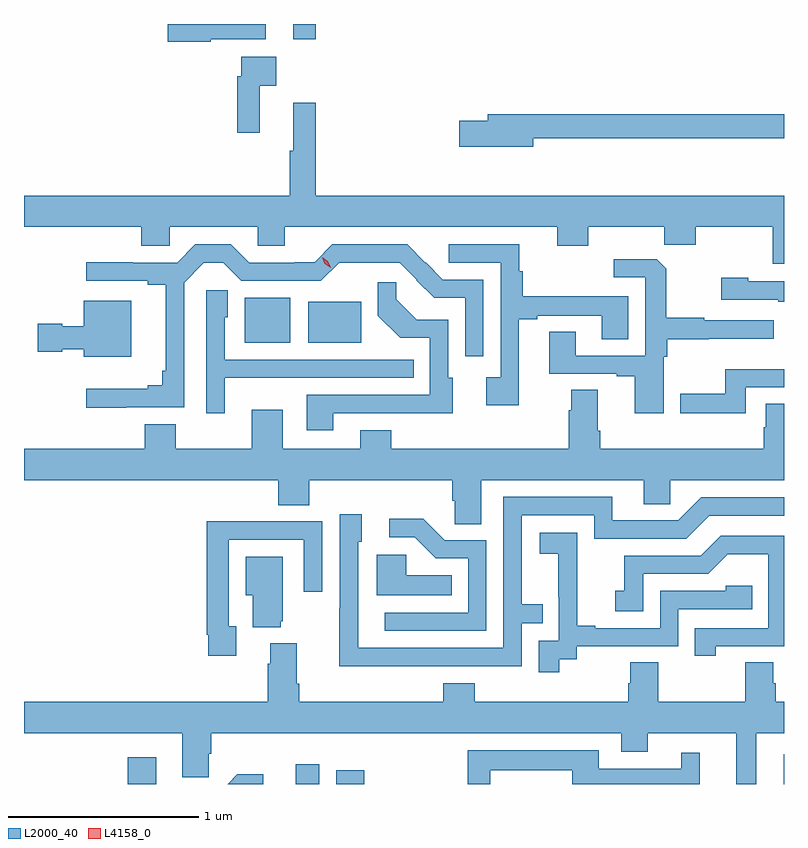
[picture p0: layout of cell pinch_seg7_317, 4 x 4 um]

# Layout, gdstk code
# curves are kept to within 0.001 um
import gdstk
lib = gdstk.Library(unit=1e-6, precision=1e-09)
def R(c, l, rs):  # rectangles x0, y0, x1, y1
    for r in rs: c.add(gdstk.rectangle(r[:2], r[2:], *l))
def P(c, l, *ps):  # polygons
    for p in ps: c.add(gdstk.Polygon(p, *l))
L2000_40 = (2000, 40)
L4158_0 = (4158, 0)

pinch_seg7_317 = lib.new_cell('pinch_seg7_317')
R(pinch_seg7_317, L2000_40, [(398.909,1060.288,399.061,1060.429), (399.794,1060.288,399.919,1060.393), (400.007,1060.288,400.156,1060.36), (402.362,1060.288,402.364,1060.444), (399.527,1062.611,399.766,1062.847), (399.86,1062.611,400.138,1062.826), (399.782,1064.208,399.899,1064.288)])
P(pinch_seg7_317, L2000_40, [(399.348,1064.207),(399.637,1064.207),(399.637,1064.288),(399.12,1064.288),(399.12,1064.195),(399.348,1064.195)],
  [(399.605,1063.964),(399.691,1063.964),(399.691,1064.116),(399.507,1064.116),(399.507,1064.012),(399.487,1064.012),(399.487,1063.716),(399.605,1063.716)],
  [(402.364,1063.384),(399.899,1063.384),(399.899,1063.873),(399.782,1063.873),(399.782,1063.62),(399.763,1063.62),(399.763,1063.384),(398.364,1063.384),(398.364,1063.22),(398.981,1063.22),(398.981,1063.122),(399.132,1063.122),(399.132,1063.22),(399.594,1063.22),(399.594,1063.122),(399.736,1063.122),(399.736,1063.22),(401.171,1063.22),(401.171,1063.121),(401.335,1063.121),(401.335,1063.22),(401.735,1063.22),(401.735,1063.127),(401.899,1063.127),(401.899,1063.22),(402.305,1063.22),(402.305,1063.026),(402.364,1063.026)],
  [(401.044,1063.686),(402.364,1063.686),(402.364,1063.814),(400.805,1063.814),(400.805,1063.778),(400.656,1063.778),(400.656,1063.643),(401.044,1063.643)],
  [(400.969,1062.733),(401.065,1062.733),(401.065,1062.753),(401.405,1062.753),(401.405,1062.628),(401.545,1062.628),(401.545,1062.854),(400.988,1062.854),(400.988,1062.986),(400.97,1062.986),(400.97,1063.128),(400.599,1063.128),(400.599,1063.032),(400.872,1063.032),(400.872,1062.43),(400.797,1062.43),(400.797,1062.282),(400.969,1062.282)],
  [(398.903,1062.27),(399.207,1062.27),(399.207,1062.927),(399.311,1063.031),(399.412,1063.031),(399.507,1062.936),(399.927,1062.936),(400.022,1063.031),(400.341,1063.032),(400.431,1062.942),(400.429,1062.94),(400.523,1062.846),(400.686,1062.846),(400.686,1062.54),(400.782,1062.54),(400.782,1062.942),(400.569,1062.942),(400.381,1063.128),(399.987,1063.128),(399.893,1063.034),(399.788,1063.034),(399.788,1063.032),(399.549,1063.032),(399.453,1063.128),(399.266,1063.128),(399.17,1063.032),(398.937,1063.032),(398.937,1063.034),(398.691,1063.034),(398.691,1062.936),(399.014,1062.936),(399.014,1062.916),(399.11,1062.916),(399.11,1062.463),(399.091,1062.463),(399.091,1062.386),(399.014,1062.386),(399.014,1062.367),(398.691,1062.367),(398.691,1062.269)],
  [(401.73,1062.536),(401.75,1062.536),(401.75,1062.628),(401.969,1062.628),(401.969,1062.632),(402.31,1062.632),(402.31,1062.729),(401.945,1062.729),(401.945,1062.742),(401.745,1062.742),(401.745,1062.999),(401.693,1063.051),(401.469,1063.051),(401.469,1062.954),(401.634,1062.954),(401.634,1062.543),(401.269,1062.543),(401.269,1062.668),(401.129,1062.668),(401.129,1062.447),(401.483,1062.447),(401.483,1062.435),(401.579,1062.435),(401.579,1062.24),(401.73,1062.24)],
  [(402.364,1062.933),(402.177,1062.933),(402.177,1062.952),(402.033,1062.952),(402.033,1062.837),(402.335,1062.837),(402.335,1062.825),(402.364,1062.825)],
  [(399.991,1062.24),(400.621,1062.239),(400.621,1062.426),(400.596,1062.426),(400.596,1062.732),(400.43,1062.732),(400.322,1062.84),(400.322,1062.928),(400.227,1062.928),(400.227,1062.752),(400.343,1062.636),(400.5,1062.636),(400.5,1062.336),(399.851,1062.336),(399.851,1062.15),(399.991,1062.15)],
  [(399.421,1062.425),(399.755,1062.425),(399.755,1062.426),(400.415,1062.426),(400.415,1062.522),(399.42,1062.522),(399.42,1062.744),(399.436,1062.744),(399.436,1062.887),(399.324,1062.887),(399.324,1062.24),(399.421,1062.24)],
  [(398.929,1062.832),(398.678,1062.832),(398.678,1062.697),(398.565,1062.697),(398.565,1062.71),(398.436,1062.71),(398.436,1062.563),(398.565,1062.563),(398.565,1062.575),(398.678,1062.575),(398.678,1062.536),(398.929,1062.536)],
  [(402.162,1062.375),(402.364,1062.375),(402.364,1062.472),(402.054,1062.472),(402.054,1062.341),(401.817,1062.341),(401.817,1062.239),(402.162,1062.239)],
  [(400.297,1062.151),(400.133,1062.151),(400.133,1062.052),(399.727,1062.052),(399.727,1062.259),(399.563,1062.259),(399.563,1062.052),(399.163,1062.052),(399.163,1062.181),(398.999,1062.181),(398.999,1062.052),(398.364,1062.052),(398.364,1061.888),(399.701,1061.888),(399.701,1061.755),(399.866,1061.755),(399.866,1061.888),(400.619,1061.888),(400.619,1061.779),(400.632,1061.779),(400.632,1061.656),(400.771,1061.656),(400.771,1061.888),(401.627,1061.888),(401.627,1061.761),(401.766,1061.761),(401.766,1061.888),(402.364,1061.888),(402.364,1062.29),(402.269,1062.29),(402.269,1062.165),(402.257,1062.165),(402.257,1062.052),(401.396,1062.052),(401.396,1062.148),(401.383,1062.148),(401.383,1062.362),(401.243,1062.362),(401.243,1062.254),(401.231,1062.254),(401.231,1062.052),(400.297,1062.052)],
  [(400.487,1060.908),(400.983,1060.908),(400.983,1061.133),(401.093,1061.133),(401.093,1061.234),(400.983,1061.234),(400.983,1061.703),(401.364,1061.703),(401.364,1061.58),(401.85,1061.58),(401.97,1061.7),(402.364,1061.7),(402.364,1061.796),(401.928,1061.796),(401.808,1061.676),(401.461,1061.676),(401.461,1061.799),(400.887,1061.799),(400.887,1061.004),(400.123,1061.004),(400.122,1061.562),(400.141,1061.562),(400.141,1061.707),(400.026,1061.707),(400.026,1061.213),(400.024,1061.213),(400.024,1060.907)],
  [(400.797,1061.571),(400.578,1061.571),(400.465,1061.684),(400.287,1061.684),(400.287,1061.586),(400.421,1061.586),(400.532,1061.475),(400.701,1061.475),(400.701,1061.19),(400.263,1061.19),(400.263,1061.094),(400.797,1061.094)],
  [(399.481,1061.118),(399.441,1061.118),(399.441,1061.574),(399.837,1061.574),(399.837,1061.301),(399.933,1061.301),(399.933,1061.67),(399.617,1061.67),(399.617,1061.672),(399.325,1061.672),(399.325,1061.074),(399.333,1061.074),(399.333,1060.962),(399.481,1060.962)],
  [(401.182,1060.945),(401.274,1060.945),(401.274,1061.013),(401.808,1061.013),(401.808,1061.208),(402.197,1061.208),(402.197,1061.331),(402.057,1061.331),(402.057,1061.304),(401.712,1061.304),(401.712,1061.109),(401.371,1061.109),(401.371,1061.122),(401.276,1061.122),(401.276,1061.405),(401.277,1061.405),(401.277,1061.611),(401.079,1061.611),(401.079,1061.501),(401.177,1061.501),(401.177,1061.273),(401.178,1061.273),(401.178,1061.043),(401.073,1061.043),(401.073,1060.875),(401.182,1060.875)],
  [(402.004,1061.013),(402.364,1061.013),(402.364,1061.595),(402.032,1061.595),(401.927,1061.49),(401.524,1061.49),(401.524,1061.305),(401.475,1061.305),(401.475,1061.196),(401.622,1061.196),(401.622,1061.394),(401.964,1061.394),(402.068,1061.498),(402.282,1061.498),(402.282,1061.109),(401.893,1061.109),(401.893,1060.962),(402.004,1060.962)],
  [(400.616,1061.386),(400.377,1061.386),(400.377,1061.494),(400.22,1061.494),(400.22,1061.282),(400.616,1061.282)],
  [(399.716,1061.145),(399.727,1061.145),(399.727,1061.485),(399.53,1061.485),(399.53,1061.282),(399.569,1061.282),(399.569,1061.114),(399.716,1061.114)],
  [(402.217,1060.556),(402.364,1060.556),(402.364,1060.72),(402.32,1060.72),(402.32,1060.818),(402.307,1060.818),(402.307,1060.928),(402.16,1060.928),(402.16,1060.72),(401.703,1060.72),(401.703,1060.928),(401.555,1060.928),(401.555,1060.818),(401.543,1060.818),(401.543,1060.72),(400.736,1060.72),(400.736,1060.819),(400.571,1060.819),(400.571,1060.72),(399.812,1060.72),(399.812,1060.816),(399.799,1060.816),(399.799,1061.029),(399.659,1061.029),(399.659,1060.922),(399.647,1060.922),(399.647,1060.72),(398.364,1060.72),(398.364,1060.556),(399.197,1060.556),(399.197,1060.324),(399.336,1060.324),(399.336,1060.446),(399.35,1060.446),(399.35,1060.556),(401.507,1060.556),(401.507,1060.457),(401.647,1060.457),(401.647,1060.556),(402.113,1060.556),(402.113,1060.288),(402.217,1060.288)],
  [(400.817,1060.361),(401.249,1060.361),(401.249,1060.288),(401.921,1060.288),(401.921,1060.453),(401.822,1060.453),(401.822,1060.369),(401.389,1060.369),(401.389,1060.465),(400.699,1060.465),(400.699,1060.288),(400.817,1060.288)],
  [(399.622,1060.339),(399.487,1060.339),(399.436,1060.288),(399.622,1060.288)])
P(pinch_seg7_317, L4158_0, [(399.979,1063.004),(399.948,1063.026),(399.933,1063.06),(399.933,1063.06),(399.933,1063.06),(399.963,1063.039),(399.979,1063.005),(399.979,1063.004)])

lib.write_gds('pinch_seg7_317.gds')
